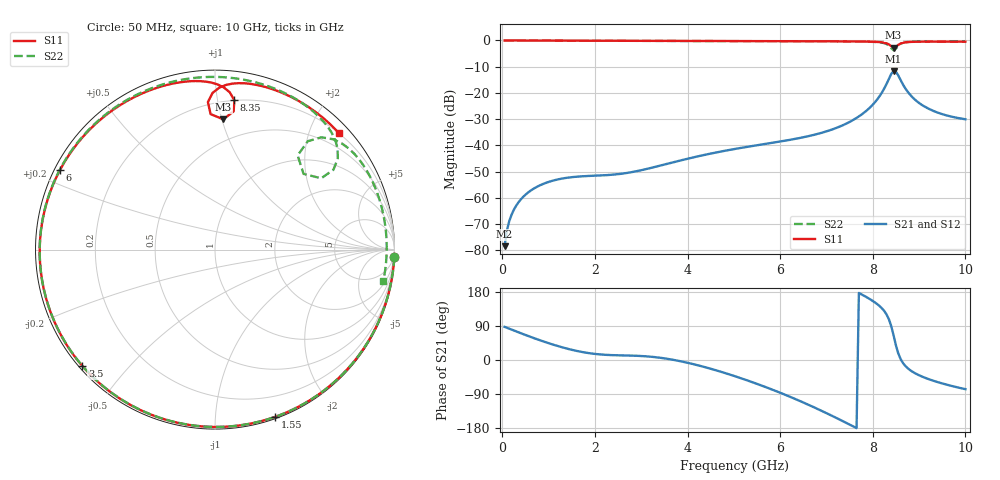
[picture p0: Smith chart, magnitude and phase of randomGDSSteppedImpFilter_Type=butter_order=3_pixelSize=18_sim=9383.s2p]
! freq	dB(S11)	phase(S11)	dB(S12)	phase(S12)
!  dB(S21)	phase(S21)	dB(S22)	phase(S22)
!S-par simulation data
#  GHz  S  DB  R 50
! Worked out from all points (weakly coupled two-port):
!   200 points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, 50 MHz to 10 GHz, reference 50 ohm
!   highest |S21| = -11.62 dB at 8.45 GHz (marker M1); lowest = -78.4 dB at 50 MHz (marker M2)
!   lowest |S11| = -2.8 dB at 8.45 GHz (marker M3), VSWR 6.33, Z = 16.4 + j50.5 ohm
!   |S11| at or under -10 dB: nowhere
!   |S22| runs from -3.8 to 0.0 dB; largest |S21 - S12| = 0
!   S11 on the Smith chart (normalised r, x): 50 MHz: 0, -47; 1.55 GHz: 0.01, -1.42; 3.5 GHz: 0.01, -0.38; 6 GHz: 0.02, +0.24; 8.35 GHz: 0.20, +1.12; 10 GHz: 0.20, +2.51
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0.05  -0.00 -2.4  -78.38 87.5  -78.38 87.5  -0.00 -2.5
0.1  -0.01 -4.8  -72.37 85.1  -72.37 85.1  -0.01 -5.0
0.2  -0.01 -9.6  -66.40 80.2  -66.40 80.2  -0.01 -9.9
0.45  -0.03 -21.4  -59.62 68.3  -59.62 68.3  -0.03 -22.1
0.9  -0.05 -42.2  -54.54 48.4  -54.54 48.4  -0.05 -43.7
1.55  -0.08 -70.2  -52.00 25.5  -52.00 25.5  -0.09 -73.2
1.75  -0.09 -78.3  -51.73 20.5  -51.73 20.5  -0.10 -81.8
2.5  -0.12 -106.3  -50.94 12.4  -50.94 12.4  -0.13 -112.3
3.4  -0.14 -135.7  -47.73 6.1  -47.73 6.1  -0.16 -145.6
3.5  -0.15 -138.7  -47.28 4.3  -47.28 4.3  -0.16 -149.1
4.25  -0.17 -160.4  -44.05 -14.7  -44.05 -14.7  -0.20 -174.9
5.05  -0.21 177.8  -41.26 -43.8  -41.26 -43.8  -0.23 158.2
6  -0.26 152.8  -38.51 -86.4  -38.51 -86.4  -0.28 126.0
6.7  -0.30 134.2  -36.10 -123.1  -36.10 -123.1  -0.32 101.6
7.75  -0.40 104.7  -28.34 173.7  -28.34 173.7  -0.42 62.6
8.1  -0.56 93.1  -22.38 147.1  -22.38 147.1  -0.64 47.6
8.35  -1.52 82.6  -14.56 106.9  -14.56 106.9  -1.98 34.0
8.45  -2.77 86.4  -11.62 64.5  -11.62 64.5  -3.75 40.5
8.5  -2.44 91.9  -11.93 38.5  -11.93 38.5  -3.12 48.7
8.6  -1.18 90.9  -15.08 2.8  -15.08 2.8  -1.29 46.5
9.05  -0.46 72.8  -24.44 -43.0  -24.44 -43.0  -0.39 23.3
10  -0.47 43.3  -30.03 -77.0  -30.03 -77.0  -0.41 -10.7
